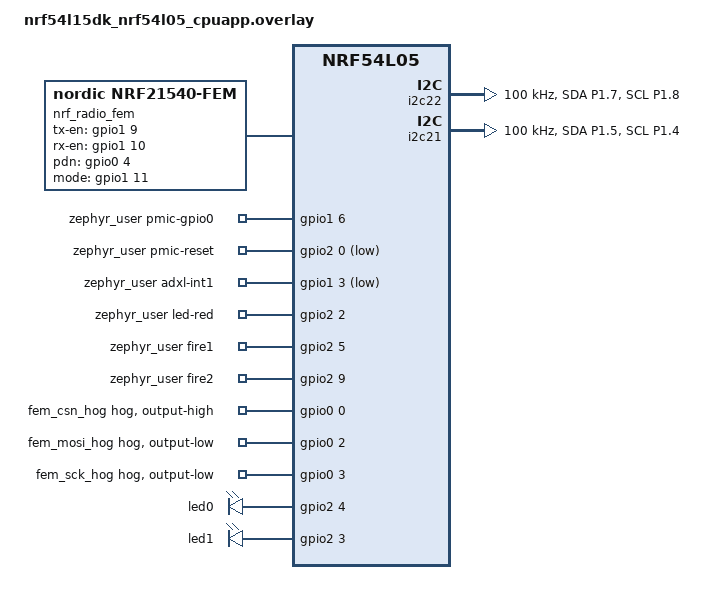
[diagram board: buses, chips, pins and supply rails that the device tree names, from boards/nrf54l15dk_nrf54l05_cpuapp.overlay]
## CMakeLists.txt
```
cmake_minimum_required(VERSION 3.20.0)

find_package(Zephyr REQUIRED HINTS $ENV{ZEPHYR_BASE})

# The two long-term keys live in the KMU, provisioned by tools/flash_device.sh;
# the image must never carry them (design 2026-11-15 section 5.4). The Kconfig
# strings exist only for the host tools that read secrets/<serial>.conf.
#
# By the time this runs Kconfig has already written the secret into the build
# directory (.config, autoconf.h and, for a -D assignment, the extra-options file
# and the CLI_ cache entries), so all of those are removed before failing: a
# refused build must not leave a secret behind (design anti-goal).
set(mfs_secret_symbols_set "")
foreach(secret_symbol CONFIG_MFS_DEVICE_SECRET CONFIG_MFS_PROVISION_KEY)
  if(NOT "${${secret_symbol}}" STREQUAL "")
    list(APPEND mfs_secret_symbols_set ${secret_symbol})
  endif()
endforeach()
if(mfs_secret_symbols_set)
  file(REMOVE ${DOTCONFIG} ${DOTCONFIG}.old ${AUTOCONF_H} ${EXTRA_KCONFIG_OPTIONS_FILE})
  foreach(secret_symbol CONFIG_MFS_DEVICE_SECRET CONFIG_MFS_PROVISION_KEY)
    unset(${secret_symbol} CACHE)
    unset(CLI_${secret_symbol} CACHE)
    unset(${secret_symbol})
  endforeach()
  message(FATAL_ERROR "${mfs_secret_symbols_set} set: keys are provisioned into the KMU by tools/flash_device.sh "
                      "and must never be in a firmware build. The generated .config and autoconf.h were deleted. "
                      "Build with a conf holding only CONFIG_ALC_DEVICE_SERIAL and CONFIG_MFS_DEVICE_ID, or use tools/flash_device.sh.")
endif()

# Every image locks the debug port (prj.conf); on nRF54L the Kconfig default is
# unlocked, so a stray conf line could otherwise build an open image silently.
# The one sanctioned exception is debug-unlocked.conf, which sets
# MFS_DEBUG_UNLOCKED; the firmware warns at boot whenever either lock is off.
if(CONFIG_MFS_DEBUG_UNLOCKED)
  if(CONFIG_NRF_APPROTECT_LOCK OR CONFIG_NRF_SECURE_APPROTECT_LOCK)
    message(FATAL_ERROR "CONFIG_MFS_DEBUG_UNLOCKED is set but a debug-port lock is still selected: "
                        "use debug-unlocked.conf, which selects NRF_APPROTECT_DISABLE and NRF_SECURE_APPROTECT_DISABLE.")
  endif()
elseif(NOT (CONFIG_NRF_APPROTECT_LOCK AND CONFIG_NRF_SECURE_APPROTECT_LOCK))
  message(FATAL_ERROR "The debug port is not locked (CONFIG_NRF_APPROTECT_LOCK and CONFIG_NRF_SECURE_APPROTECT_LOCK "
                      "must both be y). Every image locks it; a bench build that needs RTT adds debug-unlocked.conf.")
endif()
project(class_mfs_1 LANGUAGES C CXX)

target_sources(app PRIVATE
  src/main.cpp
  src/app.cpp
  src/adxl367.cpp
  src/command_scanner.cpp
  src/command_advertiser.cpp
  src/npm2100.cpp
  src/output_switch.cpp
  src/npm2100_zephyr.cpp
  src/mfs_protocol.cpp
  src/access_keys.cpp
  src/credentials.cpp
  src/crypto_psa.cpp
  src/crypto_selftest.cpp
  src/access_store.cpp
  src/access_control.cpp
  src/device_clock.cpp
  src/settings.cpp
  src/led_sequencer.cpp
  src/led_indicator.cpp
  src/detection_engine.cpp
  src/arming_sequence.cpp
  src/fire_sequence.cpp
  src/fire_gate.cpp
  src/key_check.cpp
  src/report_keys.cpp
  src/report_counter.cpp
  src/report_policy.cpp
  src/report_store.cpp
)
```

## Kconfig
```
mainmenu "Project CLASS Multi-Function Sensor 1 (nRF54L05)"

config MFS_SCAN_PERIOD_MS
	int "Passive scan period (milliseconds)"
	default 7245
	range 1000 10240
	help
	  How often the device wakes to scan. Valid range 1000-10240 ms: the
	  upper bound is the nRF54L HCI scan interval maximum, enforced by the
	  range above. A value past the uint16_t unit range would not even build:
	  the millisecond-to-0.625-ms-unit conversion in src/command_scanner.cpp
	  (value * 8 / 5 into a uint16_t) is a narrowing conversion inside a
	  braced initialiser, so a value whose converted result does not fit
	  fails to compile rather than wrapping silently. Above a few thousand ms
	  the cell's shelf life, not the radio, becomes the limiting factor.

	  The default 7245 ms (11592 BLE units, 7245.000 ms; owner, 2026-11-14)
	  replaces 5970 ms for battery life: the scan is ~90 % of the budget, and
	  the longer period took the measured 126.7 uA at 5970 ms to an estimated
	  ~106 uA (~1.3 -> ~1.55 years on a CR123A). It is the centre of the
	  passing island 11570-11613 units (7231.25-7258.125 ms, 44 units wide - wider
	  than 5970 ms's 29), found with --sweep --max-interval-ms 320. At N = 4
	  (floor(29900 / 7245)) the script reports zero steady misses against the
	  Mac's 187.5 ms and every Apple interval up to 318.75 ms, and under 10 ms
	  advDelay jitter 0-1.4 % (centred) / 0.15-1.8 % (one-sided). The worst-case
	  wait for a command rises from ~6 s to ~7.3 s. The statement below that no
	  island survives N = 4 was wrong for intervals up to 318.75 ms and is
	  withdrawn; the production Android interval is still to be measured and
	  checked against this period.

	  History. 5970 ms (9552 BLE units, 5970.000 ms) replaced preset 5's
	  6000 ms from the ladder in docs/v1-scope.md section 7.1. 6000 ms is
	  exactly 32 x 187.5 ms, the advertising interval measured from a macOS
	  advertiser, so every scan landed at the same phase of its cycle and a
	  command was caught on almost every scan or on almost none. An earlier
	  choice of 5906 ms fixed that but was proved unsound by a brute-force
	  simulation: it still misses 35 % of commands against Apple's
	  recommended 211.25 ms interval. A later choice, 5876 ms, passed the
	  simulation but sat only 3 BLE units from the edge of its passing
	  island.

	  The period is now chosen and verified by simulation, not a closed-form
	  rule: tools/scan_phase_check.py sweeps 2000 start phases per interval
	  and reports the fraction of commands that every one of the N scans
	  inside a 30 s burst would miss, N = floor((30000 - window) / period).
	  N = 5 needs a period of at most 5980 ms; past 5980 N drops to 4 (the
	  claim that no island survives N = 4 was withdrawn 2026-11-14). 9552 units was the middle of the
	  passing island 9537-9565 units (15 units of margin below, 13 above),
	  found with --sweep, so a one-unit build or clock error cannot tip it
	  into a failing phase the way 9401 (5876 ms) could have. At 5970 ms it
	  reports zero misses against the measured macOS interval (187.5 ms) and
	  every Apple interval up to 318.75 ms. A PASS holds for a steady
	  interval; a steady-interval PASS can miss a few percent under real
	  advDelay jitter (5970 ms: 1.3 % measured Mac 187.5 ms; up to ~6 %
	  against Apple's nominal intervals; scan reliability amendment
	  section 2). Intervals from about 5 x the 100 ms window
	  upward (roughly 500 ms and beyond) cannot be fully covered by any
	  period at N = 5 - the app's foreground-only sending, which keeps the
	  counterpart advertising fast, is what protects those cases, not this
	  period. Run the script before changing this value or adding a newly
	  measured interval; there is no formula to hand-check against instead.
	  The longer period versus 5876 ms also lowers the scan terms of the
	  ~69 uA budget slightly, since 5970 ms sits closer to the unconstrained
	  6000 ms optimum: it raises the budget by only 6000/5970, about 0.5 %,
	  against 5876 ms's 2.1 %.

config MFS_SCAN_WINDOW_MS
	int "Passive scan window (milliseconds)"
	default 100
	help
	  How long each scan listens. The counterpart is not a single 20-50 ms
	  advertising interval: the phone repeats the SAME command advert roughly
	  every 187 ms for a 30 s burst per Send (~160 repeats - see
	  docs/tan-scheme.md section 6, design spec section 3), so a 100 ms window
	  has many scan wakes across that burst to catch it, not just one.
	  Shortening this window trades detection reliability, not latency.

config MFS_ADXL_INACTIVITY_SECS
	int "ADXL367 loop inactivity time (seconds)"
	default 5
	help
	  Stillness required before the ADXL367 activity engine re-arms. This is
	  also the LED B timeout — the hardware loop does the timing, so there is
	  no software timer.

config MFS_ADXL_THRESHOLD
	int "ADXL367 referenced-activity threshold (13-bit) - UNUSED"
	default 300
	help
	  UNUSED. Grepping src/ and boards/ finds no reference to
	  CONFIG_MFS_ADXL_THRESHOLD at all - the threshold is entirely superseded
	  by the engineer-settable sensitivity byte (Settings::ThresholdLsb(),
	  default 143 -> 302 LSB, see src/settings.cpp), which every
	  ConfigureLoopMode() call now uses instead. This option is dead and kept
	  only for reference pending removal.

	  Deviation from the reference that counts as motion.

	  SCALE: 0.25 mg per LSB on the +/-2 g range, so 300 = 75 mg. The register
	  is 13-bit, giving a usable range of 1 to 8191 (0.25 mg to ~2 g).

	  alc_drawer_master uses 150 (37.5 mg) for a cupboard door. 300 was chosen
	  here as a less twitchy starting point for the anti-tamper role; tune it
	  against real handling of the installed product.

	  Referenced mode only — never Absolute, or the vertical gravity component
	  latches the part awake permanently. See docs/v1-scope.md section 3.

config MFS_ADXL_INACTIVITY_THRESHOLD
	int "ADXL367 referenced-inactivity threshold (13-bit)"
	default 8191
	help
	  MUST be wide enough to cover any orientation change, which is up to 2 g
	  (an axis swinging from +1 g to -1 g). 8191 is 13-bit full scale, ~2 g.

	  DO NOT set this near the activity threshold. The inactivity reference is
	  captured when ACTIVITY fires, and the datasheet is explicit that in linked
	  and looped mode "the inactivity threshold cannot be continuously updated
	  ... the accelerometer does not detect inactivity until the acceleration
	  input returns to within the inactivity threshold". Set the board down in a
	  different orientation and it never returns: AWAKE sticks permanently and
	  the device stops triggering, silently.

	  At full scale, inactivity becomes a genuine "N seconds since the last
	  activity" timer, which is the specified behaviour and is immune to
	  orientation.

config MFS_ADXL_ACTIVITY_SAMPLES
	int "ADXL367 sustained samples required to latch activity"
	default 5
	help
	  TIME_ACT, in ODR samples. At the configured 100 Hz ODR, 5 samples is
	  50 ms of sustained motion above the threshold before activity latches.

	  This is the transient-rejection knob and it is cheap: it discriminates a
	  knock, a slammed door or a passing lorry from someone actually handling
	  the device, at the cost of the same delay in detection latency.
	  alc_drawer_master uses 2 (20 ms); alc_flush_master uses 20 samples at
	  25 Hz (800 ms) to reject cistern fill-valve transients.

config MFS_BATTERY_TEST
	bool "Battery-life test build: green becomes a periodic liveness blink"
	default n
	help
	  Replaces green's disarmed level (steady before the time sync, slow flash
	  after it) with a short blink once per scan period, so an unattended
	  device can be seen to be alive across a long battery test. Red and
	  orange are unchanged. The device still starts disarmed.

	  READ THIS BEFORE TRUSTING THE RESULT: the blink dominates the power
	  budget. At an assumed 2 mA of LED current, 500 ms every 5970 ms is 8.38%
	  duty, i.e. ~168 uA against a ~69 uA operating budget - so the measurement
	  becomes mostly a measurement of the LED. See docs/battery-test.md.

config MFS_BLINK_MS
	int "Liveness blink duration (milliseconds)"
	default 500
	depends on MFS_BATTERY_TEST
	help
	  Rounded down to the 100 ms main-loop poll interval.

	  SET TO 0 TO KEEP GREEN DARK - not blinking, and not lit as the disarmed
	  indicator either. That is the setting for a true measurement. Red and
	  orange still work, so a disarmed test trigger (red) is the liveness check.

	  500 ms is highly visible but costs ~169 uA at 2 mA LED current. 100 ms
	  costs ~34 uA and is still clearly visible; 10 ms would cost ~3 uA but
	  needs the loop poll shortened to resolve it. Lower this if the aim is to
	  measure the scan rather than the LED.

config MFS_SCAN_DIAG
	bool "Log scan reception counts and discarded command IDs (bench only)"
	default n
	help
	  Bench diagnostic for commands that are advertised but never acted on.
	  Once per second in which anything was received, logs how many adverts
	  and how many single 128-bit service UUIDs the scanner delivered; and for
	  every UUID the access check discards as not for this device, logs its
	  first four on-air bytes. Tells "not received" apart from "received and
	  silently discarded". Also logs every distinct single-UUID128 advert with
	  the RSSI of its first copy (2026-11-14), to measure link margin at known
	  distances and to show whether the nRF21540 LNA is in the path. Leave off
	  in production - it reveals reception.

config MFS_DIAG_BOOST_PASSTHROUGH
	bool "Force the nPM2100 boost into pass-through (bench measurement only)"
	default n
	help
	  BENCH MEASUREMENT ONLY - never in a device that may fire. Forces the
	  boost into pass-through at boot, so the battery feeds the load directly
	  and a PPK2 in series with the cell shows the true load current instead
	  of the boost's input pulses. While forced, the boost cannot raise the
	  fire supply: VOUT follows the battery. Measure disarmed.
	  Every build sets the boost mode at boot (Auto when this is n), because
	  nPM2100 registers survive an SoC reset and a reflash.

config MFS_DEBUG_DETECTION_LOG
	bool "Log detection met / cleared transitions (bench only)"
	default y
	help
	  Logs each transition of the detection signal - the engine's trigger or a
	  rehearsal FIRE's window - in either arm state. While disarmed nothing
	  else logs a test trigger, so without it a test shows "Activation 3 of 3."
	  and then silence.

	  Logging only. The LEDs behave identically in every build: green while
	  disarmed and red for a simulated firing are production behaviour (see
	  docs/superpowers/specs/2026-11-12-three-led-indication-design.md).
	  Replaces CONFIG_MFS_DEBUG_LED, whose LED meaning was removed.

config ALC_DEVICE_SERIAL
	string "Device serial number"
	default "MFS1-0000-00000"
	help
	  CLASS serial, MODEL-MMYY-NNNNN: a 4-character model (MFS1), the month
	  and year made (MMYY), and the number in that batch as 5 hex digits.
	  E.g. MFS1-0926-00001 is the first MFS_1 made in September 2026. One
	  more digit than the ALC HAH-MMYY-xxxx format. tools/gen_bench_credentials.py
	  rejects a serial that does not match.

config MFS_DEVICE_ID
	string "Device ID (8-char hex string)"
	default ""
	help
	  Public 32-bit identity bound into every key derivation, e.g. 4D465331.
	  Not secret and never transmitted. The Network Manager looks the device
	  up by it. See docs/tan-scheme.md section 3.

config MFS_REPORT_GENERATION
	int "Event report key generation (0 = reports disabled)"
	default 0
	range 0 65535
	help
	  The report-key generation bound into the event report key and its
	  nonce (docs/superpowers/specs/2026-11-24-event-reports-design.md
	  section 4). Set by tools/flash_device.sh, which raises it on every
	  flash so a reflashed device, whose report counter starts again from
	  zero, never reuses a nonce under an earlier key. Not secret.

	  0 disables event reports: the device logs a warning at boot and works
	  otherwise as normal. A plain west build leaves it at 0.

config MFS_DEVICE_SECRET
	string "Device secret (64-char hex string) - MUST STAY EMPTY"
	default ""
	help
	  MUST STAY EMPTY in every firmware build: keys are provisioned into
	  the KMU by tools/flash_device.sh, and the build fails (CMakeLists.txt)
	  if this is set. The firmware never reads it.

	  The 32-byte per-device secret from which every day key is derived.
	  The symbol remains only so secrets/<serial>.conf keeps one format for
	  the host tools that read it (tools/flash_device.sh,
	  tools/gen_bench_credentials.py). A secret in the image is readable,
	  and a readable secret yields every day key for this device forever.
	  See docs/tan-scheme.md section 8.

config MFS_PROVISION_KEY
	string "Provisioning key (64-char hex string) - MUST STAY EMPTY"
	default ""
	help
	  MUST STAY EMPTY in every firmware build: keys are provisioned into
	  the KMU by tools/flash_device.sh, and the build fails (CMakeLists.txt)
	  if this is set. The firmware never reads it.

	  The 32-byte per-device key authorising a time sync while the clock is
	  invalid, and nothing else. Must differ from the device secret so that
	  a compromised provisioner can cause denial of service but not entry;
	  the firmware's boot key check refuses commands if the two KMU keys are
	  equal. See docs/tan-scheme.md section 8.1.

config MFS_DEBUG_UNLOCKED
	bool "Debug port unlocked (bench only - set by debug-unlocked.conf)"
	default n
	help
	  BENCH ONLY - never in a field device. Set only by debug-unlocked.conf,
	  which also replaces the debug-port locks in prj.conf with
	  NRF_APPROTECT_DISABLE and NRF_SECURE_APPROTECT_DISABLE so RTT works.
	  It is the build's permission to be unlocked: CMakeLists.txt fails any
	  build whose debug-port locks are off without it, and any build that
	  sets it while a lock is still on. The boot warning "DEBUG PORT
	  UNLOCKED - not for the field!" is keyed on the lock symbols
	  themselves, so every unlocked image logs it. Design 2026-11-15
	  section 5.4.

source "Kconfig.zephyr"
```

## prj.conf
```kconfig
# C++.
CONFIG_CPP=y
CONFIG_STD_CPP20=y
CONFIG_REQUIRES_FULL_LIBCPP=y

# GPIO for the state LEDs, the fire outputs and the sensor interrupts.
CONFIG_GPIO=y

# I2C: nPM2100 PMIC (0x74) on i2c21; ADXL367 (0x1D) and OPT3001 on i2c22.
CONFIG_I2C=y

CONFIG_CLOCK_CONTROL=y

# Logging over RTT (no UART).
CONFIG_LOG=y
CONFIG_USE_SEGGER_RTT=y
CONFIG_LOG_BACKEND_RTT=y
CONFIG_LOG_MODE_IMMEDIATE=y
# 1 KB (the default) overflows under BLE init plus any periodic logging, and in
# immediate mode the overflow is silent - output simply disappears. Diagnosed
# 2026-08-18 after a whole test cycle produced no usable log.
CONFIG_SEGGER_RTT_BUFFER_SIZE_UP=4096
CONFIG_LOG_BACKEND_UART=n
CONFIG_RTT_CONSOLE=n
CONFIG_UART_CONSOLE=n
CONFIG_SERIAL=n

CONFIG_MAIN_STACK_SIZE=4096

# BLE — OBSERVER by default: the device scans for one 128-bit service UUID (16
# bytes on air: rotating ID + ciphertext + CCM tag) from the engineer's phone,
# so there is no central role, no GATT and no SMP. See docs/tan-scheme.md
# section 6.1. Legacy scanning is sufficient for this payload.
CONFIG_BT=y
CONFIG_BT_OBSERVER=y
# BROADCASTER, not PERIPHERAL: CommandAdvertiser (command_advertiser.cpp) only
# ever calls bt_le_adv_start()/bt_le_adv_stop() for a brief NON-CONNECTABLE
# advertising burst for an event report (one-way, sent only while armed; CLAUDE.md
# "Event reports") - there is still no connectable role, no GATT and no SMP, so BT_PERIPHERAL
# (which pulls in BT_CONN) is not needed. Legacy (non-extended) advertising is
# sufficient for one 31-byte AD structure, so CONFIG_BT_EXT_ADV is left at its
# default. Confirmed against Zephyr's bt_le_adv_start()/bt_le_adv_stop(), which
# compile only under CONFIG_BT_BROADCASTER (subsys/bluetooth/host/adv.c), and
# against samples/bluetooth/scan_adv, which combines Broadcaster and Observer
# on one controller - the same combination used here alongside CommandScanner.
# The device is otherwise scan-only: its only transmission is the one-way event report.
CONFIG_BT_BROADCASTER=y

# nRF21540 FEM (pinout as alc_drawer_master, devicetree node nrf_radio_fem).
# MPSL drives it for every radio event: LNA (+13 dB, 2.9 mA) during each scan
# window, PA on the event-report bursts, powered down otherwise. POUTB
# (+10 dB) is the default, for Irish EIRP compliance: the controller splits the
# requested +10 dBm at the antenna into 0 dBm from the SoC plus 10 dB from the FEM. The LNA
# costs ~49 uA average at the 1.675% scan duty, about a year of battery life
# (docs/power-budget.md section 5); without it the device hears commands at
# ~5 m. Making it an app-set option is in docs/todo.md.
#
# GPIO-only mode, never GPIO+SPI (2026-11-16, docs/power-budget.md section 5.1):
# in GPIO+SPI mode MPSL wrote TX_GAIN 6 (8 without its power model) to the
# nRF21540 before every transmission, against the factory POUTB preset, so the
# device transmitted ~40 dB low (-81..-85 dBm at 20 cm on a phone, -40 dBm here).
# In GPIO-only mode MPSL drives MODE per transmission (runtime PA gain control,
# below): POUTB, the factory preset, by default, and POUTA for the fired report
# only. It never touches SPI; the overlay hogs CSN high and SCK/MOSI low. This
# also drops the power model's temperature wake-ups (~4.6 mA spikes every 5 s).
CONFIG_MPSL_FEM=y
CONFIG_MPSL_FEM_NRF21540_GPIO=y
CONFIG_MPSL_FEM_NRF21540_TX_GAIN_DB=10
CONFIG_BT_CTLR_TX_PWR_ANTENNA=10
# Fired reports request +20 dBm per advert (owner 2026-11-24): MPSL drives the MODE
# pin per transmission and selects POUTA for those only; everything else stays at
# the +10 dBm default (POUTB). Still GPIO-only - no SPI.
CONFIG_MPSL_FEM_NRF21540_RUNTIME_PA_GAIN_CONTROL=y
CONFIG_BT_CTLR_TX_PWR_DYNAMIC_CONTROL=y
# RX thread stack. The scan callback deliberately never logs - see the comment
# on s_dropped in command_scanner.cpp, logging on this thread at a rate an
# outsider controls is not safe - so this matches alc_drawer_master's sizing
# rather than the Kconfig default. Dropped-candidate counts are logged later,
# from the main loop, never from this thread.
CONFIG_BT_RX_STACK_SIZE=2048

# Crypto for the day-key scheme: HMAC-SHA256 for key derivation, rotating IDs
# and the time-sync tag; AES-128-CCM with a 4-byte tag for commands.
# Hardware-accelerated via CRACEN on the nRF54L05. See docs/tan-scheme.md.
CONFIG_PSA_WANT_ALG_HMAC=y
CONFIG_PSA_WANT_ALG_SHA_256=y
CONFIG_PSA_WANT_KEY_TYPE_HMAC=y
CONFIG_PSA_WANT_ALG_CCM=y
CONFIG_PSA_WANT_KEY_TYPE_AES=y

# PSA allocates every imported key's buffer from the mbedtls heap, so without
# one psa_import_key() fails with PSA_ERROR_INSUFFICIENT_MEMORY (-141) and the
# boot self-test fails. alc_drawer_master never sets this because NCS implies it
# when Bluetooth host crypto is enabled (nrf/Kconfig.nrf: BT_ECC / BT_CRYPTO,
# pulled in by its peripheral + SMP role). MFS_1 is observer-only, so nothing
# implies it here and it must be explicit - as alc_hub does. Diagnosed
# 2026-09-14 on first boot of the day-key firmware. Volatile keys (day keys,
# 32-byte HMAC; command keys, 16-byte AES) are imported, used and destroyed one
# at a time. The two KMU keys are not imported, but the PSA core keeps a small
# opaque buffer cached for each once it has been used, so the heap also holds
# those for the life of the boot. 2 KB is expected to cover both; the boot key
# check on the bench verifies it (a heap failure there reads as -ENOKEY).
CONFIG_MBEDTLS_ENABLE_HEAP=y
CONFIG_MBEDTLS_HEAP_SIZE=2048

# The device secret and the provisioning key live in the nRF54L05 KMU (slots in
# src/kmu_slots.hpp), provisioned by tools/flash_device.sh, and are used by slot
# through the CRACEN driver: CONFIG_PSA_NEED_CRACEN_KMU_DRIVER is already implied
# by the PSA options above, so no further Kconfig is needed. The image carries no
# secret - CMakeLists.txt refuses a build that sets either one.

# Every image locks the debug port (APPROTECT and SECURE_APPROTECT) at boot, so a
# field device's KMU keys and NVS cannot be reached over SWD. Unlocking needs a
# full recover, which wipes the KMU and NVS. A bench build that needs RTT adds
# debug-unlocked.conf, which logs "DEBUG PORT UNLOCKED - not for the field!" at
# every boot. UICR.ERASEPROTECT is never set. Design 2026-11-15 section 5.4.
CONFIG_NRF_APPROTECT_LOCK=y
CONFIG_NRF_SECURE_APPROTECT_LOCK=y

# NVS / Settings for the persistent state: the access state (day index + next
# sequence number per slot - AccessState, src/access_control.hpp) and the
# engineer settings record. See docs/tan-scheme.md section 6.2 — day keys
# expire at the 04:00 boundary, so no per-day history is kept.
CONFIG_FLASH=y
CONFIG_FLASH_PAGE_LAYOUT=y
CONFIG_FLASH_MAP=y
CONFIG_NVS=y
CONFIG_SETTINGS=y
CONFIG_SETTINGS_NVS=y

# Bench default: log detection transitions. Logging only - the LEDs are the same
# in every build. Production: n.
CONFIG_MFS_DEBUG_DETECTION_LOG=y
# Bench diagnostic: scan reception counts and discarded command IDs. Production: n.
CONFIG_MFS_SCAN_DIAG=n

# Battery-life test mode is OFF, so green shows the disarmed state: steady until
# the time sync, then 500 ms on / 2500 ms off. Armed, every LED is dark.
#
# Green costs ~170-330 uA while flashing (owner-accepted, 2026-11-12, until the
# app's display-status option), and nothing while armed.
#
# For the LED-free measurement build used to obtain the 75 uA / 68 uA figures in
# docs/power-budget.md, set:
#     CONFIG_MFS_BATTERY_TEST=y
#     CONFIG_MFS_BLINK_MS=0
# which keeps green dark. See docs/battery-test.md.
CONFIG_MFS_BATTERY_TEST=n
```

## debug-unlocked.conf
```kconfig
# BENCH ONLY - never in a field device. Leaves the debug port unlocked so RTT
# and a J-Link work without a recover, and logs at every boot:
#     DEBUG PORT UNLOCKED - not for the field!
#
# Add it after the device's conf, e.g. through tools/flash_device.sh <serial> --unlocked,
# or by hand:
#     west build ... -- -DEXTRA_CONF_FILE="<identity conf>;debug-unlocked.conf"
#
# Every other build locks the debug port (prj.conf). Unlocked, anyone with an SWD
# probe can read the image and NVS and run code that uses the KMU keys, so this
# image never leaves the bench. Design 2026-11-15 section 5.4.

CONFIG_NRF_APPROTECT_DISABLE=y
CONFIG_NRF_SECURE_APPROTECT_DISABLE=y
CONFIG_MFS_DEBUG_UNLOCKED=y
```

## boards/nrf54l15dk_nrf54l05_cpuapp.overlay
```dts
/*
 * Project CLASS MFS_1 pin map — CLASS MFS hardware, first full revision
 * (2026-11-10). nRF54L05 + nPM2100 + ADXL367 + OPT3001 + nRF21540 FEM.
 *
 * nRF21540 control:             PDN P0.04, TX_EN P1.09, RX_EN P1.10, MODE P1.11.
 *                               Pinout as alc_drawer_master; MPSL drives it in
 *                               GPIO-only mode (see the nrf_radio_fem node).
 * nRF21540 SPI (unused):        SCK P0.03, MOSI P0.02, MISO P0.01, CSN P0.00 -
 *                               hogged idle: CSN high, SCK/MOSI low.
 * I²C 1 (i2c21) - nPM2100:      SCL P1.04, SDA P1.05, addr 0x74.
 * I²C 2 (i2c22) - ADXL367:      SCL P1.08, SDA P1.07, addr 0x1D.
 *                 OPT3001:      same bus (not used by v1 firmware).
 * LEDs:                         LED1 red P2.02 (zephyr,user led-red-gpios),
 *                               LED2 orange P2.03 (led1), LED3 green P2.04 (led0).
 * Fire outputs:                 FIRE_1 P2.05, FIRE_2 P2.09 (see zephyr,user).
 * ADXL367 INT1:                 P1.03 — wakes the SoC.
 * ADXL367 INT2:                 P1.13 — routed to the SoC, NOT to the nPM2100
 *                               SHPHLD pin as on alc_drawer_master. Unused.
 * OPT3001 INT:                  P1.12 (unused).
 * ANTI_TAMP button:             P1.02, pulled high, active low (unused by v1).
 * nPM2100 host signals:         GPIO0 P1.06, GPIO1 P2.01, RESET P2.00 (unused by firmware).
 *                               (GPIO_1 is P2.01, not P2.02 - the board pin list
 *                               had a typo, corrected by the owner 2026-11-12.)
 *
 * GPIO active levels for PMIC_RESET and the interrupt inputs are inherited
 * assumptions from alc_drawer_master; confirm against the PMIC / ADXL pin
 * configuration once driven.
 */

&pinctrl {
    /* ─── i2c21 → nPM2100 ─── */
    i2c21_default: i2c21_default {
        group1 {
            psels = <NRF_PSEL(TWIM_SDA, 1, 5)>,
                    <NRF_PSEL(TWIM_SCL, 1, 4)>;
            bias-pull-up;
        };
    };

    i2c21_sleep: i2c21_sleep {
        group1 {
            psels = <NRF_PSEL(TWIM_SDA, 1, 5)>,
                    <NRF_PSEL(TWIM_SCL, 1, 4)>;
            low-power-enable;
        };
    };

    /* ─── i2c22 → ADXL367 + OPT3001 ─── */
    i2c22_default: i2c22_default {
        group1 {
            psels = <NRF_PSEL(TWIM_SDA, 1, 7)>,
                    <NRF_PSEL(TWIM_SCL, 1, 8)>;
            bias-pull-up;
        };
    };

    i2c22_sleep: i2c22_sleep {
        group1 {
            psels = <NRF_PSEL(TWIM_SDA, 1, 7)>,
                    <NRF_PSEL(TWIM_SCL, 1, 8)>;
            low-power-enable;
        };
    };
};

/* ─── nRF21540 SPI pins: unused, held idle ───
 * The FEM runs in GPIO-only mode (see the nrf_radio_fem node), so spi30 is not
 * enabled. The nRF21540 datasheet asks for CSN tied inactive and SCK/MOSI tied to
 * VSS when SPI is not used; GPIO hogs do that at boot, before any application
 * code, so the FEM's SPI inputs never float. MISO (P0.01) is a FEM output and is
 * left as an unconnected SoC input. (spi30, not spi22, if SPI ever returns: P0 is
 * in the 30-series domain on nRF54L and spi22 silently cannot reach P0 pads.) */
&gpio0 {
    fem_csn_hog {
        gpio-hog;
        gpios = <0 GPIO_ACTIVE_HIGH>;
        output-high;
    };

    fem_mosi_hog {
        gpio-hog;
        gpios = <2 GPIO_ACTIVE_HIGH>;
        output-low;
    };

    fem_sck_hog {
        gpio-hog;
        gpios = <3 GPIO_ACTIVE_HIGH>;
        output-low;
    };
};

&i2c22 {
    status = "okay";
    pinctrl-0 = <&i2c22_default>;
    pinctrl-1 = <&i2c22_sleep>;
    pinctrl-names = "default", "sleep";
    clock-frequency = <I2C_BITRATE_STANDARD>;
};

/* The DK console UART20 sits on P1.04 / P1.05 — the nPM2100 I2C bus here. */
&uart20 {
    status = "disabled";
};

&i2c21 {
    status = "okay";
    pinctrl-0 = <&i2c21_default>;
    pinctrl-1 = <&i2c21_sleep>;
    pinctrl-names = "default", "sleep";
    clock-frequency = <I2C_BITRATE_STANDARD>;
};

/* The DK board files fit an onboard Macronix MX25R64 external flash on spi00 and
 * enable it by default. The bespoke board has no such part, so enabling
 * CONFIG_FLASH for NVS made the spi_nor driver probe a device that is not there
 * and log on every boot:
 *
 *   <err> spi_nor: Device id 00 00 00 does not match config c2 28 17
 *
 * Harmless, but a permanent spurious error trains you to ignore real ones. NVS
 * lives in the nRF54L05's internal RRAM, not here. Disable the flash node and the
 * bus it sits on — spi00 is not used by this design either.
 */
&mx25r64 {
    status = "disabled";
};

&spi00 {
    status = "disabled";
};

/ {
    /* nRF21540 front-end module. MPSL finds it by the nrf_radio_fem label and
     * drives it for every radio event: PA on transmit, LNA on receive, powered
     * down (PDN low, 45 nA) otherwise. Until 2026-11-12 the firmware believed
     * the FEM was not fitted and never declared it, so it sat powered down in
     * the RF path: range was ~5 m on the ground (tools/range_pong). There is
     * no bypass mode - the LNA must be on for the device to hear commands.
     * Cost: docs/power-budget.md section 5.
     *
     * GPIO-only mode - no spi-if (2026-11-16, power-budget section 5.1). With
     * spi-if, MPSL ran it in GPIO+SPI mode and wrote TX_GAIN 6-8 before every
     * transmission: ~40 dB below the factory POUTB preset. Without spi-if, MPSL
     * drives MODE per transmission (runtime PA gain control): POUTB (+10 dB) by
     * default, POUTA (+20 dB) for the fired report only (owner 2026-11-24). Do not
     * restore spi-if without an RSSI check against a bare-DK reference. */
    nrf_radio_fem: nrf21540_fem {
        compatible  = "nordic,nrf21540-fem";
        tx-en-gpios = <&gpio1  9 GPIO_ACTIVE_HIGH>;
        rx-en-gpios = <&gpio1 10 GPIO_ACTIVE_HIGH>;
        pdn-gpios   = <&gpio0  4 GPIO_ACTIVE_HIGH>;
        mode-gpios  = <&gpio1 11 GPIO_ACTIVE_HIGH>;
    };

    /* Application-side control GPIOs that don't belong to a standard driver
     * binding. Access from C++ via e.g.:
     *   GPIO_DT_SPEC_GET(DT_PATH(zephyr_user), adxl_int1_gpios)
     */
    zephyr_user: zephyr,user {
        pmic-gpio0-gpios = <&gpio1 6 GPIO_ACTIVE_HIGH>;
        pmic-reset-gpios = <&gpio2 0 GPIO_ACTIVE_LOW>;
        adxl-int1-gpios  = <&gpio1 3 (GPIO_ACTIVE_LOW | GPIO_PULL_UP)>;

        /* LED1, red. Active-high is assumed, like LED2 and LED3 - verify on
         * first power-up (bench checklist): the wrong polarity lights red
         * throughout Armed. The DK's nRF54L05 board files define only led0
         * and led1, so it lives here rather than as led2. */
        led-red-gpios = <&gpio2 2 GPIO_ACTIVE_HIGH>;

        /* ─── FIRE OUTPUT — THE DEVICE'S ACTUAL OUTPUT ───
         *
         * Fire1 and Fire2 form ONE logical channel. They are not a set/reset
         * pair and must never be driven independently. On assert, FIRE_1 goes
         * first and FIRE_2 follows 10 ms later (the firing order this hardware
         * revision requires); they always clear together. In the product
         * this output switches a voltage, so only alc::OutputSwitch may touch
         * these pins — it owns them privately and exposes Enable(), Set() and
         * Disable() alone. Nothing else may take a handle to them.
         *
         * ACTIVE_HIGH because both lines carry external 10k pull-downs. That
         * makes the hardware fail-safe through reset: the nRF54L brings GPIOs up
         * high-Z, so the pull-downs hold the output de-energised. Firmware keeps
         * it that way: the pins have NO driver (GPIO_DISCONNECTED) whenever the
         * device is not armed. Boot only reads each pin as a plain input (it
         * must read low) and disconnects it; the pins become outputs —
         * GPIO_OUTPUT_INACTIVE only, never GPIO_OUTPUT_ACTIVE — as the last step
         * of arming, and every disarm drives them low and disconnects them
         * again. See docs/superpowers/specs/2026-09-14-arming-sequence-amendment.md.
         *
         * !!! BOTH PINS ARE CLAIMED BY THE DK BOARD FILES AND ARE ONLY FREE HERE
         * !!! BECAUSE OF TWO OVERRIDES MADE FOR UNRELATED REASONS:
         *
         *   P2.05 is spi00's cs-gpios (external-flash chip select). It is free
         *         only because &spi00 is disabled below — a change made to
         *         silence a spurious spi_nor probe error, not for this.
         *         RE-ENABLING spi00 WOULD HAND FIRE1 TO THE SPI DRIVER AS A CHIP
         *         SELECT AND TOGGLE IT ON EVERY TRANSACTION.
         *
         *   P2.09 is the DK's led0 ("Green LED 0"). It is free only because
         *         &led0 is remapped to P2.04 below to match the bespoke board.
         *
         * Do not re-enable spi00 or remove the led0 override without moving
         * these pins first.
         */
        fire1-gpios = <&gpio2 5 GPIO_ACTIVE_HIGH>;
        fire2-gpios = <&gpio2 9 GPIO_ACTIVE_HIGH>;
    };
};

/* Release P1.02 / P1.03 from the NFC peripheral so they can be used as
 * GPIOs (ANTI_TAMP and ADXL INT1 on this board). Without this UICR property, the NFCT block
 * owns those pads and any GPIO writes have no effect on the physical pin.
 * Setting this property bakes the bit into the UICR hex at build time. */
&uicr {
    nfct-pins-as-gpios;
};

/* Override DK's LED pins to match the bespoke board.
 * The DK's nRF54L05 variant only defines led0 and led1 (no led2/led3).
 * led0 = LED3 green, led1 = LED2 orange. LED1 red is led-red-gpios in zephyr,user. */
&led0 {
    gpios = <&gpio2 4 GPIO_ACTIVE_HIGH>;
};

&led1 {
    gpios = <&gpio2 3 GPIO_ACTIVE_HIGH>;
};

/* HFXO trim, inherited from alc_drawer_master. CL = 8 pF (Kyocera CX2016DB,
 * f_tol +/- 15 ppm, f_tem +/- 20 ppm).
 *
 * Trimmed 2026-05-28 on that board, residual +1.27 ppm at 2440 MHz, 25 degC
 * (CONFIG_HFXO_TRIM=y). Layout sensitivity ~9.3 ppm/pF;
 * load-capacitance-femtofarad must be a multiple of 250 fF per the
 * nordic,nrf54l-hfxo binding enum.
 *
 * NOTE: that trim was measured on the Drawer Master board, with the FEM in TX
 * state. MFS_1 also has the FEM, but its layout differs, so re-verify the
 * residual on this board before relying on it.
 */
&hfxo {
    load-capacitance-femtofarad = <14000>;
};

/*
 * LFXO — 32.768 kHz crystal, confirmed fitted on the bespoke board.
 *
 * This is the timebase for TAN day indexing, so its accuracy is a security
 * parameter, not just a convenience (docs/tan-scheme.md section 8.4). No Kconfig
 * is needed to select it: CONFIG_CLOCK_CONTROL_NRF_K32SRC_XTAL and
 * CONFIG_NRF_GRTC_TIMER_SOURCE_LFXO are already the defaults for this target.
 *
 * Crystal: Abracon ABS06N-32.768kHz-9-T. The "-9-" field is the specified load
 * capacitance, CL = 9 pF, hence 9000 fF below.
 *
 * The property is the crystal's load capacitance, not a raw register value. Per
 * the nRF54L15 PS, quoted in zephyr/soc/nordic/nrf54l/soc.c:
 *   CAPVALUE = round((2*CAPACITANCE - 12) * (SLOPE + 0.765625*2^9)/2^9 + OFFSET/2^6)
 *   where CAPACITANCE is the desired capacitor value in pF, 4-18 pF in 0.5 pF steps.
 * The "-12" is the device subtracting its own pin/package contribution, and the
 * FICR XOSC32KTRIM slope/offset apply the per-die factory trim.
 *
 * The value is stated EXPLICITLY rather than inherited, because silently
 * inheriting the DK's 17000 fF is precisely how this went unexamined in
 * alc_drawer_master. That value corresponds to a 17 pF crystal; against this
 * board's 9 pF part it over-capacitates by 8 pF, which pulls the oscillator
 * roughly 45-50 ppm SLOW (estimate assumes ABS06N-typical C0 ~1.2 pF,
 * C1 ~2.2 fF) — about 25 minutes lost per year, on top of the crystal's own
 * tolerance.
 *
 * !!! STILL TO TRIM BY MEASUREMENT. 9000 fF is the nominal value from the part
 * number, not a measured one. Board stray capacitance shifts the optimum: note
 * that &hfxo above sits at 14000 fF against a nominally 8 pF crystal after
 * trimming on this same board. Measure and record the residual here, as was done
 * for &hfxo.
 *
 * A mispulled LFXO will not show up as a fault: Bluetooth LE tolerates up to
 * 500 ppm of sleep-clock error, so links work normally at 100 ppm and nothing
 * complains. Only accumulated drift reveals it. See docs/power-budget.md 8.5.2.
 */
&lfxo {
    load-capacitors = "internal";
    load-capacitance-femtofarad = <9000>;
};
```

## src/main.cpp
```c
#include "app.hpp"

namespace
{
  alc::App s_app;
}

int main()
{
  return s_app.Run();
}
```

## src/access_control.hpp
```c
#pragma once

#include <cstdint>

#include "access_keys.hpp"
#include "device_clock.hpp"
#include "mfs_protocol.hpp"

namespace alc
{

  /** @brief The persisted access state. 36 bytes. Written only on change. */
  struct AccessState
  {
      uint16_t day { 0 };
      uint32_t next[access::M_SLOT_COUNT] {};
  };

  /**
   * @brief Decides whether 16 on-air bytes are an authentic, fresh command.
   *
   * Pure logic apart from the persistence hook, so the whole rule set is
   * host-tested. See docs/tan-scheme.md section 6.
   *
   * **Silence is the default.** Every verdict other than Accepted and
   * AheadOfWindow results in no radio emission and no LED - the caller logs over
   * RTT and does nothing else. AheadOfWindow is authentic (it needs the day key)
   * and fresh, so showing it tells nothing to anyone without the key.
   */
  class AccessControl
  {
    public:
      // Look-ahead per slot. The phone never learns whether a command landed, so
      // the device accepts any of the next 16 sequence numbers and skips past it.
      static constexpr uint8_t M_WINDOW { 16 };

      // Recognition reach (owner, 2026-11-14): IDs are derived for this many
      // sequence numbers from next, the first M_WINDOW acceptable and the rest
      // only RECOGNISED, so an authentic, fresh command ahead of the window - the
      // device lost its counters, or more than 16 Sends went unheard - can be
      // shown as a counter mismatch instead of vanishing. Never accepted.
      static constexpr uint8_t M_LOOKAHEAD { 64 };

      // Consecutive authentication failures that trigger a lockout.
      static constexpr uint8_t M_LOCKOUT_THRESHOLD { 20 };
      static constexpr uint32_t M_LOCKOUT_INITIAL_SECS { 600 };
      static constexpr uint32_t M_LOCKOUT_MAX_SECS { 14400 };

      // Per-expected-ID tag-guess cap. A genuine copy of an accepted command is
      // byte-identical and authenticates first time; eight failures on one ID
      // can only be guessing, since a captured-but-unaccepted ID stays in the
      // window and would otherwise be guessable indefinitely - the one-shot
      // lockout bit only counts it once, not once per attempt.
      static constexpr uint8_t M_MAX_ID_FAILURES { 8 };

      enum class Verdict : uint8_t {
        Accepted,
        NotForUs,      ///< No expected rotating ID matched. The normal case for any other advert. Not counted.
        ClockInvalid,  ///< No trustworthy time yet - only a provisioner sync is listened for.
        LockedOut,     ///< An ID matched during a lockout. Not decrypted, not counted.
        AuthFailed,    ///< An ID matched but no candidate authenticated. Counted once per expected ID.
        Malformed,     ///< Authentic, but the plaintext is invalid. Not consumed.
        Stale,         ///< Authentic, but the minute is outside the freshness window. Not consumed.
        PersistFailed, ///< Authentic and fresh, but the sequence number could not be saved. NOT acted on.
        CryptoError,   ///< Backend fault. Not counted.
        AheadOfWindow, ///< Authentic and fresh, but past the window: a counter mismatch. NOT consumed, NOT acted on. Once per n.
      };

      struct Evaluation
      {
          Verdict verdict { Verdict::NotForUs };
          uint8_t slot { 0 };
          uint32_t n { 0 };
          protocol::Command command {};
      };

      /** @brief Persistence hook. Must return only once the state is durable. */
      using PersistFn = int (*)(const AccessState& state, void* context);

      /**
       * @param deviceId Public 32-bit identity used in every derivation.
       * @param secret   The device secret, held by value: a KMU slot on target. A raw
       *                 reference's bytes (host tests only) must outlive this object.
       * @param persist  Called before any command is acted on.
       */
      AccessControl(uint32_t deviceId, const crypto::KeyRef& secret, PersistFn persist, void* context);

      /** @brief Adopt a state loaded from NVS. Call before the first Evaluate(). */
      void Restore(const AccessState& state);

      /**
       * @brief Set the device ID once credentials are parsed. Forces a table rebuild.
       */
      void SetDeviceId(uint32_t deviceId);

      const AccessState& State() const { return m_state; }
      bool IsLockedOut(int64_t uptimeSecs) const { return m_locked && uptimeSecs < m_lockout_until_secs; }
      uint8_t ConsecutiveFailures() const { return m_failures; }

      /**
       * @brief The accepting slot's current day key - access::M_DAY_KEY_BYTES.
       *
       * Only valid for a slot an Accepted Evaluate() just named: the tables are
       * rebuilt on day rollover, so a key read for any other purpose could be
       * stale. Firmware no longer reads it - the FIRE confirmation burst it was
       * added for is retired (event reports design section 5.2) - and it remains
       * for the host tests that check the rollover wipe.
       */
      const uint8_t* DayKey(uint8_t slot) const { return m_day_keys[slot]; }

      /**
       * @brief Evaluate one 128-bit service UUID's bytes.
       *
       * On Accepted the slot's sequence number has ALREADY been persisted past n,
       * so the command cannot be replayed however the caller then fails.
       */
      Evaluation Evaluate(const uint8_t* onAir, uint8_t length, DeviceClock& clock, int64_t uptimeSecs);

      /**
       * @brief Adopt the clock's current day if it has moved on: persist the rollover and raise the floor.
       *
       * A command advances the day as a side effect of Evaluate(), but a device that
       * receives no commands for days would otherwise keep a stale floor and, after a
       * power cut, accept an old captured provisioner sync that revives that day's
       * keys. Call after a sync and periodically.
       *
       * @return 0, or negative errno if the rollover could not be persisted (state unchanged).
       */
      int Advance(DeviceClock& clock, int64_t uptimeSecs);

    private:
      int prepareDay(uint16_t today, DeviceClock& clock, bool& persistFailed);
      int rebuildSlot(uint8_t slot);
      void recordFailure(int64_t uptimeSecs);

      uint32_t m_device_id;
      crypto::KeyRef m_secret;
      PersistFn m_persist;
      void* m_persist_context;

      AccessState m_state;
      bool m_tables_ready;
      uint8_t m_day_keys[access::M_SLOT_COUNT][access::M_DAY_KEY_BYTES];
      uint8_t m_expected_ids[access::M_SLOT_COUNT][M_LOOKAHEAD][protocol::M_ROTATING_ID_BYTES];
      // IDs derived per slot: M_LOOKAHEAD, fewer near the (unreachable) sequence limit, 0 past it.
      uint8_t m_window_size[access::M_SLOT_COUNT];
      // Bit k = 1 if expected_ids[slot][k] has already counted a failure. Copied and
      // corrupted adverts must not lock out an engineer — a lockout now needs 20 distinct
      // expected IDs to fail, not 20 copies of one.
      uint64_t m_failed_ids[access::M_SLOT_COUNT];

      // Bit k = 1 if the ahead ID expected_ids[slot][k] has already been reported
      // as AheadOfWindow. Reported once per sequence number, then skipped like a
      // burned ID, so a captured command replayed within its freshness window
      // cannot make the device flash repeatedly. Cleared by rebuildSlot().
      uint64_t m_mismatch_shown[access::M_SLOT_COUNT];

      // Per-expected-ID wrong-tag count, independent of the one-shot bit above.
      // Reaching M_MAX_ID_FAILURES burns the ID: the candidate filter then skips
      // it exactly like no match at all (NotForUs, not decrypted, not counted),
      // so an attacker cannot keep guessing tags against one captured ID.
      // Cleared per slot by rebuildSlot() along with everything else in the
      // window.
      uint8_t m_id_failures[access::M_SLOT_COUNT][M_LOOKAHEAD];

      uint8_t m_failures;
      bool m_locked;
      int64_t m_lockout_until_secs;
      uint32_t m_lockout_secs;
  };

}
```

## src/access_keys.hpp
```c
#pragma once

#include <cstdint>

#include "crypto.hpp"
#include "mfs_protocol.hpp"

namespace alc::access
{

  // The derivations of docs/tan-scheme.md section 3. Every function here is
  // mirrored byte for byte by class_app/lib/protocol/access_keys.dart, and both
  // are checked against tools/gen_access_vectors.py.

  constexpr uint8_t M_SECRET_BYTES { 32 };
  constexpr uint8_t M_DAY_KEY_BYTES { 32 };
  constexpr uint8_t M_NONCE_BYTES { 11 };
  constexpr uint8_t M_AAD_BYTES { 5 };

  // Eight key slots per device per day. Slot 0 is the Network Manager's own and
  // is the only slot whose commands may change the operating mode. Slots 1-7 are
  // assigned to engineers by the Network Manager, per device and per day.
  constexpr uint8_t M_SLOT_COUNT { 8 };
  constexpr uint8_t M_SLOT_NETWORK_MANAGER { 0 };

  // Domain-separation labels. 0x00 and 0x01 were the retired paper-TAN and
  // session-key labels and must not be reused.
  constexpr uint8_t M_LABEL_DAY_KEY { 0x02 };
  constexpr uint8_t M_LABEL_ENC_KEY { 0x03 };
  constexpr uint8_t M_LABEL_ROTATING_ID { 0x04 };
  constexpr uint8_t M_LABEL_TIME_SYNC { 0x05 };
  // 0x06 (confirmId) is retired and never reused. 0x07 is the boot key check; 0x08-0x0A are the report labels (report_keys.hpp).

  constexpr uint8_t M_TIME_SYNC_TAG_BYTES { 12 };

  /**
   * @brief dayKey = HMAC-SHA256(secret, id BE32 | day BE16 | slot | 0x02).
   * @param secret The device secret: a KMU slot on target, raw bytes in tests and the self-test.
   * @return 0; -ENOKEY if a KMU secret is not provisioned; other negative errno on a backend fault.
   */
  int DeriveDayKey(const crypto::KeyRef& secret, uint32_t deviceId, uint16_t day, uint8_t slot, uint8_t* dayKey);

  /** @brief encKey = first 16 bytes of HMAC-SHA256(dayKey, 0x03). */
  int DeriveEncKey(const uint8_t* dayKey, uint8_t* encKey);

  /** @brief rotatingId(n) = first 4 bytes of HMAC-SHA256(dayKey, n BE32 | 0x04). */
  int DeriveRotatingId(const uint8_t* dayKey, uint32_t n, uint8_t* rotatingId);

  /** @brief nonce = id BE32 | day BE16 | slot | n BE32 (11 bytes). */
  void BuildNonce(uint32_t deviceId, uint16_t day, uint8_t slot, uint32_t n, uint8_t* nonce);

  /**
   * @brief Build the 16 on-air bytes for command number n.
   *
   * Used by the host tests and the on-target self-test. The device itself only
   * ever opens commands; the app seals them.
   */
  int SealCommand(const uint8_t* dayKey, uint32_t deviceId, uint16_t day, uint8_t slot, uint32_t n, const uint8_t* plaintext, uint8_t* onAir);

  /**
   * @brief Authenticate and decrypt 16 on-air bytes as command number n.
   * @return 0 if authentic; -EBADMSG if not; other negative errno on a backend fault.
   */
  int OpenCommand(const uint8_t* dayKey, uint32_t deviceId, uint16_t day, uint8_t slot, uint32_t n, const uint8_t* onAir, uint8_t* plaintext);

  /** @brief Time sync on air: unix LE32 | first 12 bytes of HMAC-SHA256(provisionKey, id BE32 | unix BE32 | 0x05). */
  int BuildTimeSync(const uint8_t* provisionKey, uint32_t deviceId, uint32_t unixSeconds, uint8_t* onAir);

  /**
   * @brief Verify a time sync. Says nothing about whether the time is acceptable -
   *        that is DeviceClock::ApplyProvisionerSync().
   * @param provisionKey A KMU slot on target, raw bytes in tests and the self-test.
   * @return True only if the tag verifies; `unixSeconds` is written only then.
   *         False, too, if the key cannot be used.
   */
  bool OpenTimeSync(const crypto::KeyRef& provisionKey, uint32_t deviceId, const uint8_t* onAir, uint32_t& unixSeconds);

}
```

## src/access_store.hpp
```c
#pragma once

#include "access_control.hpp"

namespace alc::access_store
{

  /**
   * @brief Load the persisted access state.
   *
   * Requires settings_subsys_init() to have run.
   *
   * @param state Written only if a valid record exists.
   * @return 1 if a record was loaded, 0 if none exists (a first boot), negative errno on failure,
   *         including a record that exists but is invalid.
   */
  int Load(AccessState& state);

  /**
   * @brief AccessControl::PersistFn. Returns only once the write has completed.
   *
   * `context` is unused.
   */
  int Persist(const AccessState& state, void* context);

}
```
